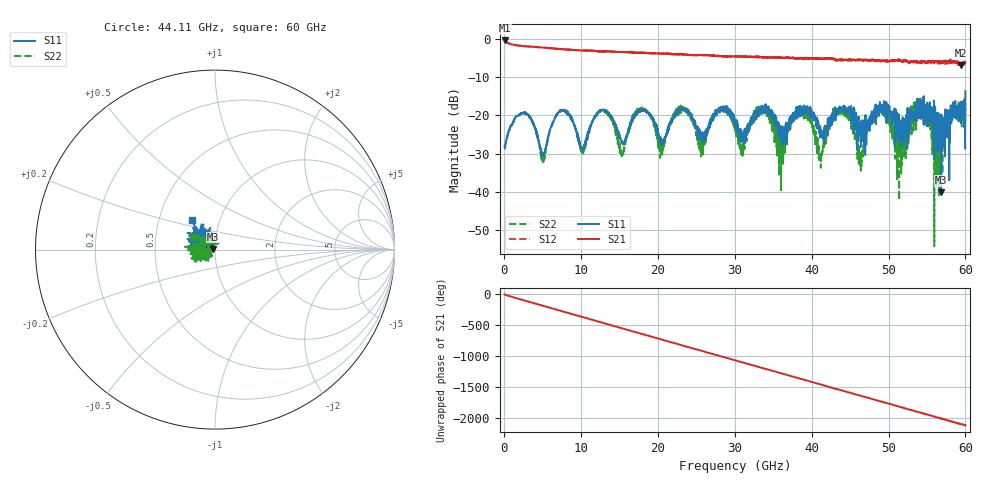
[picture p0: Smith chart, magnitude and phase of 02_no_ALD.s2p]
! File created by 'SoftPlot +Plus+ Measurement Management Software'
! SoftPlot +Plus+ Measurement Management Software
! Start 40.000000 MHz  Stop 60.000000 GHz  Points 1601
# MHZ S RI R 50
! S-Parameter data, F S11 S21 S12 S22
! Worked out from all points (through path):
!   1601 points, 40 MHz to 60 GHz, reference 50 ohm
!   highest |S21| = -0.35 dB at 40 MHz (marker M1); lowest = -6.9 dB at 59.4 GHz (marker M2)
!   group delay of S21, straight-line fit = 97.9 ps
!   lowest |S11| = -40.1 dB at 56.85 GHz (marker M3), VSWR 1.02, Z = 49.1 + j0.316 ohm
!   |S11| at or under -10 dB: start of sweep to end of sweep
!   |S22| runs from -54.3 to -15.1 dB; largest |S21 - S12| = 0.073
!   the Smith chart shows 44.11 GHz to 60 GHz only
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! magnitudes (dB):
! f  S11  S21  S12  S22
! 40 MHz  -28.0  -0.3  -0.4  -28.3
! 2.776 GHz  -19.2  -1.9  -1.9  -19.5
! 5.062 GHz  -30.5  -2.2  -2.2  -31.3
! 7.572 GHz  -18.8  -2.6  -2.6  -18.8
! 10.05 GHz  -28.7  -3.0  -3.0  -29.1
! 12.71 GHz  -18.6  -3.2  -3.2  -18.6
! 15.25 GHz  -26.9  -3.4  -3.4  -29.5
! 17.65 GHz  -18.5  -3.5  -3.6  -19.1
! 20.05 GHz  -25.1  -3.8  -3.8  -24.9
! 22.97 GHz  -18.1  -3.9  -3.9  -19.4
! 25.64 GHz  -26.1  -4.2  -4.2  -26.2
! 30.02 GHz  -21.1  -4.5  -4.5  -22.5
! 40.03 GHz  -19.5  -5.0  -5.1  -23.0
! 41.23 GHz  -25.7  -5.1  -5.2  -30.1
! 44.04 GHz  -18.6  -5.6  -5.6  -19.7
! 46.36 GHz  -21.8  -5.4  -5.4  -29.9
! 50.03 GHz  -18.4  -5.7  -5.8  -21.5
! 51.42 GHz  -23.1  -5.5  -5.7  -26.4
! 53.93 GHz  -18.7  -6.1  -6.1  -21.0
! 56.85 GHz  -40.1  -5.9  -6.1  -25.7
! 59.4 GHz  -22.0  -6.9  -7.2  -17.3
! 60 GHz  -13.6  -6.0  -6.6  -17.0
